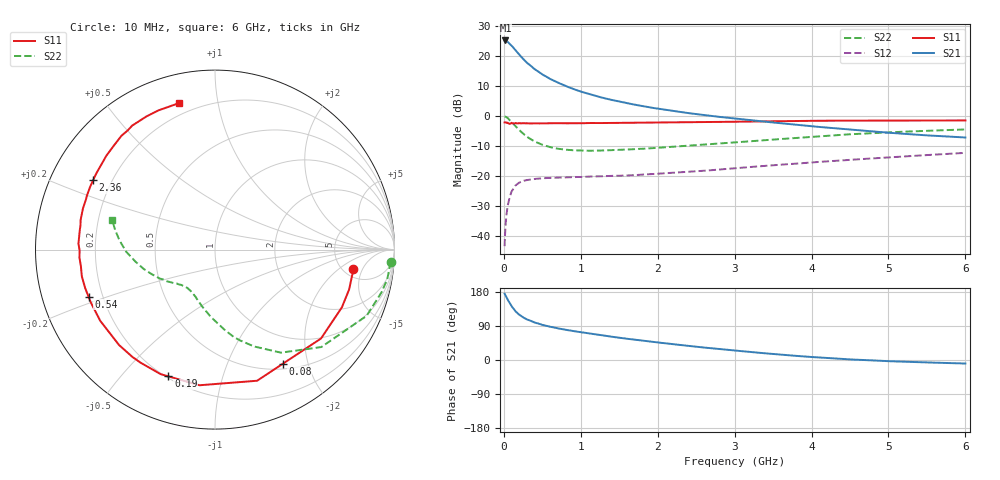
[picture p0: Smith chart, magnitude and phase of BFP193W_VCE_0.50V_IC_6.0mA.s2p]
! Infineon Technologies  Discrete & RF Semiconductors
! BFP193W
! VCE = 0.50V,  IC =  6.0 mA
! Common Emitter S-Parameters:  Jan 2016
# GHz  S  MA  R  50
!  f  S11  S21  S12  S22
! GHz  MAG  ANG  MAG  ANG  MAG  ANG  MAG  ANG
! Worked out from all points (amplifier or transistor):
!   210 points, 10 MHz to 6 GHz, reference 50 ohm
!   highest |S21| = 25.1 dB at 20 MHz (marker M1)
!   |S21| within 3 dB of that: start of sweep to 142.9 MHz
!   unconditionally stable (mu >= 1): 1.412 GHz to end of sweep
!   at 185 MHz: K = 0.17, MSG = 21.7 dB, |S12| = -22.5 dB
!   at 1.52 GHz: K = 1.05, MAG = 11.0 dB, |S12| = -19.9 dB
!   at 6 GHz: K = 1.11, MAG = 0.5 dB, |S12| = -12.3 dB
!   S11 on the Smith chart (normalised r, x): 10 MHz: 6.11, -3.41; 80 MHz: 0.57, -1.60; 190 MHz: 0.21, -0.68; 540 MHz: 0.15, -0.18; 2.36 GHz: 0.13, +0.26; 6 GHz: 0.14, +0.78
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0.01  0.7792 -8.1  17.99 174.9  0.0068 85.7  0.9816 -4.0
0.02  0.7796 -16.6  18 171.4  0.0136 80.8  0.9736 -9.9
0.03  0.7767 -24.5  17.77 167.2  0.02 78.1  0.9578 -14.4
0.05  0.7708 -40.0  17.14 158.9  0.0322 70.4  0.922 -23.6
0.08  0.7398 -59.4  15.59 149.2  0.0456 59.4  0.8396 -34.3
0.1  0.7674 -72.2  14.84 141.8  0.0551 55.1  0.8035 -42.5
0.145  0.7552 -94.1  12.65 130.0  0.0679 45.0  0.6912 -55.7
0.19  0.7524 -110.2  10.8 121.5  0.0759 38.1  0.5996 -65.7
0.2  0.7571 -113.6  10.42 119.4  0.0776 36.7  0.5814 -68.1
0.24  0.7542 -123.3  9.192 114.0  0.0816 32.5  0.5225 -74.9
0.3  0.7539 -135.2  7.669 107.0  0.0857 28.1  0.449 -83.3
0.4  0.7525 -148.2  6 98.8  0.0893 23.6  0.3751 -93.7
0.54  0.7519 -159.6  4.591 90.9  0.0923 20.7  0.3194 -103.8
0.8  0.7528 -172.9  3.148 79.8  0.0951 19.0  0.2744 -116.5
1.02  0.7556 179.7  2.494 72.6  0.0966 19.1  0.2649 -123.4
1.4  0.7615 169.8  1.846 61.4  0.1006 21.4  0.2693 -131.3
2.02  0.7749 156.6  1.31 45.9  0.1095 26.7  0.296 -140.8
2.36  0.7823 150.2  1.131 38.2  0.1164 29.0  0.3176 -146.0
3.1  0.8023 137.5  0.877 23.2  0.1376 32.5  0.3699 -157.3
4.1  0.8307 122.4  0.655 6.7  0.1717 32.5  0.4564 -172.9
5.1  0.8368 111.3  0.515 -3.7  0.2077 29.6  0.5399 173.4
6  0.8401 103.7  0.437 -9.3  0.2427 26.0  0.5951 164.1
